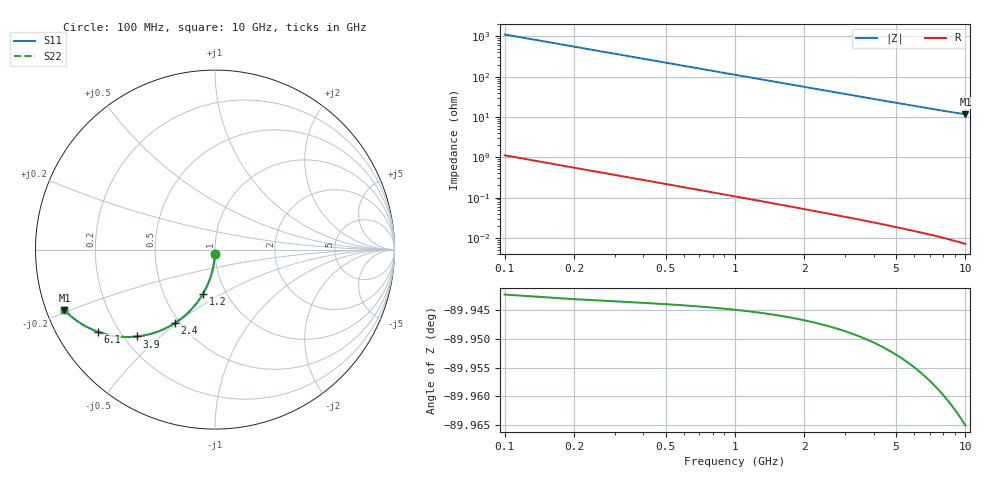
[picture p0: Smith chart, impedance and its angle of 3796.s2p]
# Hz S RI R 50.00
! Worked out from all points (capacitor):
!   100 points, 100 MHz to 10 GHz, reference 50 ohm
!   read as one part in shunt: C = 1.43 pF near 100 MHz
!   lowest |Z| = 11.6 ohm at 10 GHz (marker M1)
!   S11 on the Smith chart (normalised r, x): 100 MHz: 1.00, -0.04; 1.2 GHz: 0.78, -0.41; 2.4 GHz: 0.47, -0.49; 3.9 GHz: 0.25, -0.42; 6.1 GHz: 0.12, -0.31; 10 GHz: 0.05, -0.19
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1e8  -0.000341 -0.0221  0.9993 -0.0227  0.9993 -0.0227  -0.000341 -0.0221
2e8  -0.00187 -0.0442  0.9978 -0.0453  0.9978 -0.0453  -0.00187 -0.0442
3e8  -0.00438 -0.0661  0.9952 -0.0678  0.9952 -0.0678  -0.00438 -0.0661
4e8  -0.00788 -0.0878  0.9917 -0.0901  0.9917 -0.0901  -0.00788 -0.0878
5e8  -0.0123 -0.1093  0.9873 -0.1121  0.9873 -0.1121  -0.0123 -0.1093
6e8  -0.0177 -0.1304  0.9819 -0.1338  0.9819 -0.1338  -0.0177 -0.1304
7e8  -0.024 -0.1512  0.9756 -0.1551  0.9756 -0.1551  -0.024 -0.1512
9e8  -0.0391 -0.1913  0.9605 -0.1964  0.9605 -0.1964  -0.0391 -0.1913
1.2e9  -0.0676 -0.2474  0.932 -0.2543  0.932 -0.2543  -0.0676 -0.2474
1.5e9  -0.1017 -0.2978  0.8978 -0.3064  0.8978 -0.3064  -0.1017 -0.2978
1.8e9  -0.1403 -0.3418  0.8593 -0.3521  0.8593 -0.3521  -0.1403 -0.3418
2.1e9  -0.1818 -0.3793  0.8178 -0.3913  0.8178 -0.3913  -0.1818 -0.3793
2.4e9  -0.225 -0.4103  0.7745 -0.4241  0.7745 -0.4241  -0.225 -0.4103
2.9e9  -0.2978 -0.4486  0.7016 -0.4652  0.7016 -0.4652  -0.2978 -0.4486
3.4e9  -0.3685 -0.4722  0.6309 -0.4917  0.6309 -0.4917  -0.3685 -0.4722
3.9e9  -0.4346 -0.484  0.5647 -0.5064  0.5647 -0.5064  -0.4346 -0.484
5.1e9  -0.5688 -0.48  0.4303 -0.5093  0.4303 -0.5093  -0.5688 -0.48
6.1e9  -0.6545 -0.4572  0.3444 -0.4924  0.3444 -0.4924  -0.6545 -0.4572
6.7e9  -0.6962 -0.4397  0.3026 -0.4785  0.3026 -0.4785  -0.6962 -0.4397
7.5e9  -0.7424 -0.4146  0.2562 -0.4581  0.2562 -0.4581  -0.7424 -0.4146
8.4e9  -0.7841 -0.3858  0.2142 -0.4348  0.2142 -0.4348  -0.7841 -0.3858
1e10  -0.8386 -0.337  0.1592 -0.3957  0.1592 -0.3957  -0.8386 -0.337
